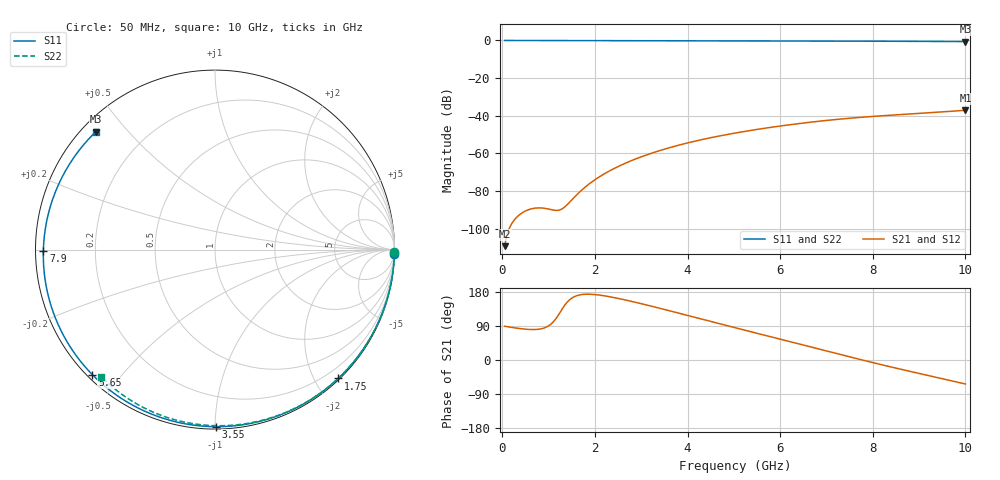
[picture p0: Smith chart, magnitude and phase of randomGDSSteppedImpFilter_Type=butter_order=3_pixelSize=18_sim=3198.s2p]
! freq	dB(S11)	phase(S11)	dB(S12)	phase(S12)
!  dB(S21)	phase(S21)	dB(S22)	phase(S22)
!S-par simulation data
#  GHz  S  DB  R 50
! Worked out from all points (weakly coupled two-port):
!   200 points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, 50 MHz to 10 GHz, reference 50 ohm
!   highest |S21| = -37.09 dB at 10 GHz (marker M1); lowest = -109.3 dB at 50 MHz (marker M2)
!   lowest |S11| = -0.6 dB at 10 GHz (marker M3), VSWR 29.23, Z = 2 + j20.6 ohm
!   |S11| at or under -10 dB: nowhere
!   |S22| runs from -0.4 to 0.0 dB; largest |S21 - S12| = 0
!   S11 on the Smith chart (normalised r, x): 50 MHz: 0, -84; 1.75 GHz: 0.02, -2.34; 3.55 GHz: 0.01, -1.01; 5.65 GHz: 0.01, -0.42; 7.9 GHz: 0.02, -0.00; 10 GHz: 0.04, +0.41
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0.05  -0.00 -1.4  -109.30 89.0  -109.30 89.0  -0.00 -0.8
0.45  -0.01 -12.2  -91.26 81.9  -91.26 81.9  -0.01 -6.8
0.85  -0.03 -22.8  -89.00 82.6  -89.00 82.6  -0.02 -12.9
1.25  -0.04 -33.4  -90.00 126.0  -90.00 126.0  -0.02 -18.9
1.65  -0.06 -43.7  -80.97 171.2  -80.97 171.2  -0.03 -24.8
1.7  -0.06 -45.0  -79.83 172.4  -79.83 172.4  -0.03 -25.5
1.75  -0.06 -46.3  -78.74 173.2  -78.74 173.2  -0.03 -26.3
2.05  -0.07 -53.9  -73.18 172.0  -73.18 172.0  -0.04 -30.7
2.45  -0.08 -63.7  -67.60 163.8  -67.60 163.8  -0.05 -36.5
2.9  -0.09 -74.6  -62.77 151.6  -62.77 151.6  -0.06 -42.9
3.4  -0.11 -86.2  -58.52 136.5  -58.52 136.5  -0.07 -50.0
3.55  -0.12 -89.6  -57.41 131.8  -57.41 131.8  -0.07 -52.1
4.25  -0.14 -105.1  -53.00 109.7  -53.00 109.7  -0.09 -61.7
5.05  -0.18 -122.1  -49.10 84.5  -49.10 84.5  -0.11 -72.4
5.65  -0.21 -134.4  -46.70 65.8  -46.70 65.8  -0.13 -80.2
6.2  -0.25 -145.5  -44.80 48.8  -44.80 48.8  -0.16 -87.1
6.7  -0.28 -155.5  -43.30 33.2  -43.30 33.2  -0.18 -93.3
7.3  -0.33 -167.5  -41.78 14.5  -41.78 14.5  -0.21 -100.6
7.9  -0.39 -179.6  -40.55 -3.9  -40.55 -3.9  -0.25 -107.7
8.35  -0.43 171.2  -39.77 -17.1  -39.77 -17.1  -0.29 -113.0
9.2  -0.52 153.2  -38.44 -40.9  -38.44 -40.9  -0.36 -122.7
10  -0.59 135.2  -37.09 -63.3  -37.09 -63.3  -0.45 -131.8
